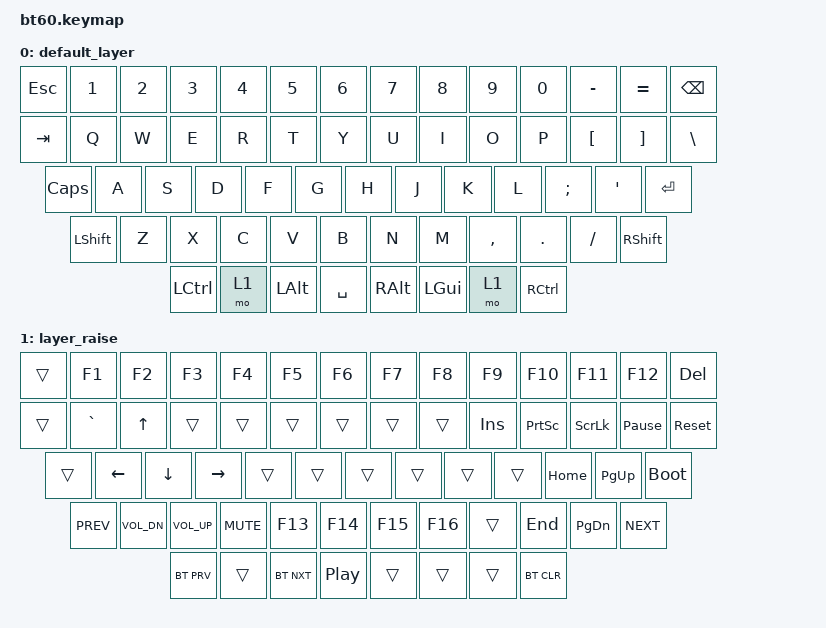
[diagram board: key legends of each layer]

/*
 * Copyright (c) 2020 The ZMK Contributors
 *
 * SPDX-License-Identifier: MIT
 */


/* THIS FILE WAS GENERATED!
 *
 * This file was generated automatically. You may or may not want to
 * edit it directly.
 */

#include <behaviors.dtsi>
#include <dt-bindings/zmk/keys.h>

#include <dt-bindings/zmk/bt.h>

/ {
    keymap {
        compatible = "zmk,keymap";


        default_layer {
            bindings = <
				&kp ESC &kp N1 &kp N2 &kp N3 &kp N4 &kp N5 &kp N6 &kp N7 &kp  N8   &kp  N9 &kp  N0  &kp MINUS &kp EQUAL &kp BSPC
				&kp TAB  &kp Q  &kp W  &kp E  &kp R  &kp T  &kp Y  &kp U  &kp  I    &kp  O  &kp  P   &kp LBKT &kp RBKT  &kp BSLH
				&kp CLCK  &kp A  &kp S  &kp D  &kp F  &kp G  &kp H  &kp J  &kp  K    &kp  L  &kp SEMI &kp SQT           &kp RET
				&kp LSHFT  &kp Z  &kp X  &kp C  &kp V  &kp B  &kp N  &kp M  &kp COMMA &kp DOT &kp FSLH             &kp RSHFT
				&kp LCTRL &mo 1 &kp LALT            &kp SPACE                          &kp RALT  &kp LGUI &mo 1 &kp RCTRL
            >;
        };

        layer_raise {
            bindings = <
                &trans &kp F1 &kp F2 &kp F3 &kp F4 &kp F5 &kp F6 &kp F7 &kp  F8   &kp  F9 &kp  F10  &kp F11 &kp F12   &kp DEL
				&trans &kp GRAVE &kp UP &trans &trans &trans &trans &trans &trans &kp INS  &kp PSCRN &kp SLCK &kp PAUSE_BREAK &sys_reset
				&trans    &kp LEFT &kp DOWN &kp RIGHT &trans &trans &trans &trans &trans &trans &kp HOME  &kp PG_UP   &bootloader
				&kp C_PREV  &kp C_VOL_DN &kp C_VOL_UP &kp C_MUTE &kp F13 &kp F14 &kp F15 &kp F16 &trans &kp END &kp PG_DN  &kp C_NEXT
				&bt BT_PRV &trans &bt BT_NXT             &kp C_PLAY_PAUSE                    &trans   &trans   &trans &bt BT_CLR
            >;
        };

    };
};
